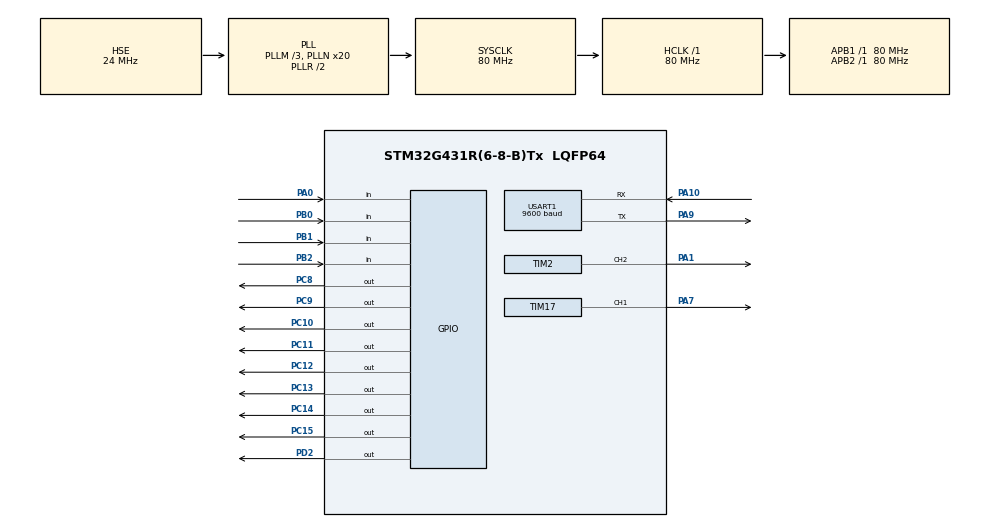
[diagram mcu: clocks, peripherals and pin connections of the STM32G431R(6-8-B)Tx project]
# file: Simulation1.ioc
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Mcu.Family=STM32G4
Mcu.Name=STM32G431R(6-8-B)Tx
Mcu.Package=LQFP64
NVIC.PriorityGroup=NVIC_PRIORITYGROUP_4
NVIC.TIM1_TRG_COM_TIM17_IRQn=true\:0\:0\:false\:false\:true\:true\:true\:true
NVIC.TIM2_IRQn=true\:0\:0\:false\:false\:true\:true\:true\:true
NVIC.TIM3_IRQn=true\:0\:0\:false\:false\:true\:true\:true\:true
NVIC.USART1_IRQn=true\:0\:0\:false\:false\:true\:true\:true\:true
PA0.GPIO_Mode=GPIO_MODE_INPUT
PA0.GPIO_PuPd=GPIO_PULLUP
PA0.Signal=GPIO_Input
PA1.Signal=S_TIM2_CH2
PA10.Mode=Asynchronous
PA10.Signal=USART1_RX
PA13.Mode=Serial_Wire
PA13.Signal=SYS_JTMS-SWDIO
PA14.Mode=Serial_Wire
PA14.Signal=SYS_JTCK-SWCLK
PA7.Signal=S_TIM17_CH1
PA9.Mode=Asynchronous
PA9.Signal=USART1_TX
PB0.GPIO_Mode=GPIO_MODE_INPUT
PB0.GPIO_PuPd=GPIO_PULLUP
PB0.Signal=GPIO_Input
PB1.GPIO_Mode=GPIO_MODE_INPUT
PB1.GPIO_PuPd=GPIO_PULLUP
PB1.Signal=GPIO_Input
PB2.GPIO_Mode=GPIO_MODE_INPUT
PB2.GPIO_PuPd=GPIO_PULLUP
PB2.Signal=GPIO_Input
PC10.GPIO_ModeDefaultOutputPP=GPIO_MODE_OUTPUT_PP
PC10.GPIO_PuPd=GPIO_NOPULL
PC10.GPIO_Speed=GPIO_SPEED_FREQ_LOW
PC10.PinState=GPIO_PIN_SET
PC10.Signal=GPIO_Output
PC11.GPIO_ModeDefaultOutputPP=GPIO_MODE_OUTPUT_PP
PC11.GPIO_PuPd=GPIO_NOPULL
PC11.GPIO_Speed=GPIO_SPEED_FREQ_LOW
PC11.PinState=GPIO_PIN_SET
PC11.Signal=GPIO_Output
PC12.GPIO_ModeDefaultOutputPP=GPIO_MODE_OUTPUT_PP
PC12.GPIO_PuPd=GPIO_NOPULL
PC12.GPIO_Speed=GPIO_SPEED_FREQ_LOW
PC12.PinState=GPIO_PIN_SET
PC12.Signal=GPIO_Output
PC13.GPIO_ModeDefaultOutputPP=GPIO_MODE_OUTPUT_PP
PC13.GPIO_PuPd=GPIO_NOPULL
PC13.GPIO_Speed=GPIO_SPEED_FREQ_LOW
PC13.PinState=GPIO_PIN_SET
PC13.Signal=GPIO_Output
PC14-OSC32_IN.GPIO_ModeDefaultOutputPP=GPIO_MODE_OUTPUT_PP
PC14-OSC32_IN.GPIO_PuPd=GPIO_NOPULL
PC14-OSC32_IN.GPIO_Speed=GPIO_SPEED_FREQ_LOW
PC14-OSC32_IN.PinState=GPIO_PIN_SET
PC14-OSC32_IN.Signal=GPIO_Output
PC15-OSC32_OUT.GPIO_ModeDefaultOutputPP=GPIO_MODE_OUTPUT_PP
PC15-OSC32_OUT.GPIO_PuPd=GPIO_NOPULL
PC15-OSC32_OUT.GPIO_Speed=GPIO_SPEED_FREQ_LOW
PC15-OSC32_OUT.PinState=GPIO_PIN_SET
PC15-OSC32_OUT.Signal=GPIO_Output
PC8.GPIO_ModeDefaultOutputPP=GPIO_MODE_OUTPUT_PP
PC8.GPIO_PuPd=GPIO_NOPULL
PC8.GPIO_Speed=GPIO_SPEED_FREQ_LOW
PC8.PinState=GPIO_PIN_SET
PC8.Signal=GPIO_Output
PC9.GPIO_ModeDefaultOutputPP=GPIO_MODE_OUTPUT_PP
PC9.GPIO_PuPd=GPIO_NOPULL
PC9.GPIO_Speed=GPIO_SPEED_FREQ_LOW
PC9.PinState=GPIO_PIN_SET
PC9.Signal=GPIO_Output
PD2.Signal=GPIO_Output
PF0-OSC_IN.Mode=HSE-External-Oscillator
PF0-OSC_IN.Signal=RCC_OSC_IN
PF1-OSC_OUT.Mode=HSE-External-Oscillator
PF1-OSC_OUT.Signal=RCC_OSC_OUT
ProjectManager.HeapSize=0x200
ProjectManager.StackSize=0x400
ProjectManager.TargetToolchain=MDK-ARM V5.32
RCC.ADC12Freq_Value=80000000
RCC.AHBFreq_Value=80000000
RCC.APB1Freq_Value=80000000
RCC.APB1TimFreq_Value=80000000
RCC.APB2Freq_Value=80000000
RCC.APB2TimFreq_Value=80000000
RCC.CortexFreq_Value=80000000
RCC.EXTERNAL_CLOCK_VALUE=12288000
RCC.HCLKFreq_Value=80000000
RCC.HSE_VALUE=24000000
RCC.HSI48_VALUE=48000000
RCC.HSI_VALUE=16000000
RCC.LSE_VALUE=32768
RCC.PLLM=RCC_PLLM_DIV3
RCC.PLLN=20
RCC.PLLSourceVirtual=RCC_PLLSOURCE_HSE
RCC.SYSCLKFreq_VALUE=80000000
RCC.SYSCLKSource=RCC_SYSCLKSOURCE_PLLCLK
RCC.USBFreq_Value=80000000
RCC.VCOOutputFreq_Value=160000000
SH.S_TIM17_CH1.0=TIM17_CH1,PWM Generation1 CH1
SH.S_TIM2_CH2.0=TIM2_CH2,PWM Generation2 CH2
TIM17.Channel=TIM_CHANNEL_1
TIM17.PeriodNoDither=100-1
TIM17.Prescaler=800-1
TIM17.PulseNoDither_1=10
TIM2.Channel-PWM\ Generation2\ CH2=TIM_CHANNEL_2
TIM2.PeriodNoDither=100-1
TIM2.Prescaler=800-1
TIM2.PulseNoDither_2=10
TIM3.PeriodNoDither=10000-1
TIM3.Prescaler=80-1
USART1.BaudRate=9600
USART1.VirtualMode-Asynchronous=VM_ASYNC
VP_SYS_VS_DBSignals.Mode=DisableDeadBatterySignals
VP_TIM17_VS_ClockSourceINT.Mode=Enable_Timer
VP_TIM2_VS_ClockSourceINT.Mode=Internal
VP_TIM3_VS_ClockSourceINT.Mode=Internal
board=custom

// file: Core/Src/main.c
/* USER CODE BEGIN Header */
/**
 ******************************************************************************
 * @file           : main.c
 * @brief          : Main program body
 ******************************************************************************
 * @attention
 *
 * Copyright (c) 2023 STMicroelectronics.
 * All rights reserved.
 *
 * This software is licensed under terms that can be found in the LICENSE file
 * in the root directory of this software component.
 * If no LICENSE file comes with this software, it is provided AS-IS.
 *
 ******************************************************************************
 */
/* USER CODE END Header */
#include "main.h"
#include "tim.h"
#include "usart.h"
#include "gpio.h"

/* USER CODE BEGIN Includes */
uchar view = 0;			  // 显示界面
extern struct keys key[]; // 按键
uint frqPA1 = 1000;		  // PA1的输出频率
uint frqPA7 = 1000;		  // PA7的输出频率
uint dutyPA1 = 10;		  // PA1占空比
uint dutyPA7 = 10;		  // PA7占空比
bool model = 0;			  // 控制模式,0为按键控制
#define DELAY_TIME 100	  // LED闪烁时间

extern uint8_t rx;			 // 每次接收的字符
extern char receiveData[30]; // 存储接受的字符串
extern uchar rePoint;		 // 指示位置

char carType[5];
char carData[5];
char carTime[13];

/* USER CODE END Includes */

void SystemClock_Config(void);

int main(void)
{

	/* MCU Configuration--------------------------------------------------------*/

	/* Reset of all peripherals, Initializes the Flash interface and the Systick. */
	HAL_Init();

	/* Configure the system clock */
	SystemClock_Config();

	/* Initialize all configured peripherals */
	MX_GPIO_Init();
	MX_TIM2_Init();
	MX_TIM17_Init();
	MX_TIM3_Init();
	MX_USART1_UART_Init();
	/* USER CODE BEGIN 2 */
	// ledDisplay(0x00);//默认全灭
	HAL_GPIO_WritePin(GPIOC, GPIO_PIN_All, GPIO_PIN_SET); // 默认全关闭
	LCD_Init();
	HAL_TIM_Base_Start_IT(&htim3);			   // 打开按键定时器
	HAL_TIM_PWM_Start(&htim2, TIM_CHANNEL_2);  // PA1的pwm输出
	HAL_TIM_PWM_Start(&htim17, TIM_CHANNEL_1); // PA7的pwm输出
	HAL_UART_Receive_IT(&huart1, &rx, 1);	   // 启用中断,也算是初始化
	/* USER CODE END 2 */

	/* Infinite loop */
	/* USER CODE BEGIN WHILE */

	LCD_Clear(Black);
	LCD_SetBackColor(Black);
	LCD_SetTextColor(White);

	LCD_DisplayStringLine(Line0, (uint8_t *)"                    ");
	LCD_DisplayStringLine(Line1, (uint8_t *)"                    ");
	LCD_DisplayStringLine(Line2, (uint8_t *)"                    ");
	LCD_DisplayStringLine(Line3, (uint8_t *)"                    ");
	LCD_DisplayStringLine(Line4, (uint8_t *)"                    ");
	LCD_DisplayStringLine(Line5, (uint8_t *)"                    ");
	LCD_DisplayStringLine(Line6, (uint8_t *)"                    ");
	LCD_DisplayStringLine(Line7, (uint8_t *)"                    ");
	LCD_DisplayStringLine(Line8, (uint8_t *)"                    ");
	LCD_DisplayStringLine(Line9, (uint8_t *)"                    ");

	while (1)
	{
		/* USER CODE END WHILE */

		/* USER CODE BEGIN 3 */

		keyProcess();
		pwmProcess();
		// uart_TX();
		uartProcess();
		displayView();
		ledProcess();
	}
	/* USER CODE END 3 */
}

void SystemClock_Config(void)
{
	RCC_OscInitTypeDef RCC_OscInitStruct = {0};
	RCC_ClkInitTypeDef RCC_ClkInitStruct = {0};

	/** Configure the main internal regulator output voltage
	 */
	HAL_PWREx_ControlVoltageScaling(PWR_REGULATOR_VOLTAGE_SCALE1);

	/** Initializes the RCC Oscillators according to the specified parameters
	 * in the RCC_OscInitTypeDef structure.
	 */
	RCC_OscInitStruct.OscillatorType = RCC_OSCILLATORTYPE_HSE;
	RCC_OscInitStruct.HSEState = RCC_HSE_ON;
	RCC_OscInitStruct.PLL.PLLState = RCC_PLL_ON;
	RCC_OscInitStruct.PLL.PLLSource = RCC_PLLSOURCE_HSE;
	RCC_OscInitStruct.PLL.PLLM = RCC_PLLM_DIV3;
	RCC_OscInitStruct.PLL.PLLN = 20;
	RCC_OscInitStruct.PLL.PLLP = RCC_PLLP_DIV2;
	RCC_OscInitStruct.PLL.PLLQ = RCC_PLLQ_DIV2;
	RCC_OscInitStruct.PLL.PLLR = RCC_PLLR_DIV2;
	if (HAL_RCC_OscConfig(&RCC_OscInitStruct) != HAL_OK)
	{
		Error_Handler();
	}

	/** Initializes the CPU, AHB and APB buses clocks
	 */
	RCC_ClkInitStruct.ClockType = RCC_CLOCKTYPE_HCLK | RCC_CLOCKTYPE_SYSCLK | RCC_CLOCKTYPE_PCLK1 | RCC_CLOCKTYPE_PCLK2;
	RCC_ClkInitStruct.SYSCLKSource = RCC_SYSCLKSOURCE_PLLCLK;
	RCC_ClkInitStruct.AHBCLKDivider = RCC_SYSCLK_DIV1;
	RCC_ClkInitStruct.APB1CLKDivider = RCC_HCLK_DIV1;
	RCC_ClkInitStruct.APB2CLKDivider = RCC_HCLK_DIV1;

	if (HAL_RCC_ClockConfig(&RCC_ClkInitStruct, FLASH_LATENCY_2) != HAL_OK)
	{
		Error_Handler();
	}
}

/* USER CODE BEGIN 4 */
void uartProcess()
{
	// 读取到数据
	if (rePoint >0 )
	{
		if (model == 1)
		{
			// 数据位数正常
			if (receiveData[0] == '@'&&rePoint==1)
				view = 0;
			else if (receiveData[0] == '#'&&rePoint==1)
				view = 1;
			else
			{
				uartTX();
			}
			rePoint = 0;				// 清空
			memset(receiveData, 0, 30); // 清空
		}
		else
		{
			char str[20];

			sprintf(str, "KEY CONTROL\r\n");
			HAL_UART_Transmit(&huart1, (uint8_t *)str, strlen(str), 50);
			rePoint = 0;				// 清空
			memset(receiveData, 0, 30); // 清空
		}
	}
}
void ledProcess()
{
	HAL_GPIO_WritePin(GPIOC, GPIO_PIN_All, GPIO_PIN_SET);
	if (model == 0)
		HAL_GPIO_WritePin(GPIOC, GPIO_PIN_10, GPIO_PIN_RESET);
	if (view == 0)
	{
		if (frqPA1 > frqPA7)
		{
			HAL_GPIO_WritePin(GPIOC, GPIO_PIN_8, GPIO_PIN_RESET); // 开
			HAL_GPIO_WritePin(GPIOD, GPIO_PIN_2, GPIO_PIN_SET);
			HAL_GPIO_WritePin(GPIOD, GPIO_PIN_2, GPIO_PIN_RESET);
			HAL_Delay(DELAY_TIME);
			HAL_GPIO_WritePin(GPIOC, GPIO_PIN_8, GPIO_PIN_SET); // 灭
			HAL_GPIO_WritePin(GPIOD, GPIO_PIN_2, GPIO_PIN_SET);
			HAL_GPIO_WritePin(GPIOD, GPIO_PIN_2, GPIO_PIN_RESET);
			HAL_Delay(DELAY_TIME);
		}
		else
		{
			HAL_GPIO_WritePin(GPIOC, GPIO_PIN_8, GPIO_PIN_RESET); // 开启
			HAL_GPIO_WritePin(GPIOD, GPIO_PIN_2, GPIO_PIN_SET);
			HAL_GPIO_WritePin(GPIOD, GPIO_PIN_2, GPIO_PIN_RESET);
		}
	}
	else
	{
		if (frqPA7 > frqPA1)
		{
			HAL_GPIO_WritePin(GPIOC, GPIO_PIN_9, GPIO_PIN_RESET); // 开
			HAL_GPIO_WritePin(GPIOD, GPIO_PIN_2, GPIO_PIN_SET);
			HAL_GPIO_WritePin(GPIOD, GPIO_PIN_2, GPIO_PIN_RESET);
			HAL_Delay(DELAY_TIME);
			HAL_GPIO_WritePin(GPIOC, GPIO_PIN_9, GPIO_PIN_SET); // 灭
			HAL_GPIO_WritePin(GPIOD, GPIO_PIN_2, GPIO_PIN_SET);
			HAL_GPIO_WritePin(GPIOD, GPIO_PIN_2, GPIO_PIN_RESET);
			HAL_Delay(DELAY_TIME);
		}
		else
		{
			HAL_GPIO_WritePin(GPIOC, GPIO_PIN_9, GPIO_PIN_RESET);
			HAL_GPIO_WritePin(GPIOD, GPIO_PIN_2, GPIO_PIN_SET);
			HAL_GPIO_WritePin(GPIOD, GPIO_PIN_2, GPIO_PIN_RESET);
		}
	}
}

void pwmProcess()
{
	__HAL_TIM_SetCompare(&htim2, TIM_CHANNEL_2, dutyPA1);	  // 设置PA1的占空比,因为重装载值是100,所以比列不需要运算
	__HAL_TIM_SetCompare(&htim17, TIM_CHANNEL_1, dutyPA7);	  // 设置PA7的占空比
	__HAL_TIM_SET_PRESCALER(&htim2, ((800000 / frqPA1) - 1)); // 设置频率 80000000/100/目标频率 -1
	__HAL_TIM_SET_PRESCALER(&htim2, ((800000 / frqPA1) - 1));
}

void keyProcess()
{
	// B1
	if (key[0].flagKey > 0)
	{
		if (view == 0)
		{
			frqPA1 += 1000;
			if (frqPA1 > 10000)
				frqPA1 = 1000;
		}
		else
		{
			frqPA7 += 1000;
			if (frqPA7 > 10000)
				frqPA7 = 1000;
		}
		key[0].flagKey = 0;
	}
	// B2
	if (key[1].flagKey > 0)
	{
		if (view == 0)
		{
			dutyPA1 += 10;
			if (dutyPA1 > 90)
				dutyPA1 = 10;
		}
		else
		{
			dutyPA7 += 10;
			if (dutyPA7 > 90)
				dutyPA7 = 10;
		}
		key[1].flagKey = 0;
	}
	// B3
	if (key[2].flagKey > 0)
	{
		if (model == 0) // 在按键模式下生效
		{
			view = !view;
			LCD_Clear(Black);
		}
		key[2].flagKey = 0;
	}
	// B4
	if (key[3].flagKey > 0)
	{
		model = !model;
		key[3].flagKey = 0;
	}
}
void displayView()
{
	if (view == 0)
	{
		LCD_DisplayStringLine(Line3, (uint8_t *)"        PA1         ");
		char text[30];
		// int i=2000;
		sprintf(text, "    F:%dHz        ", frqPA1);
		LCD_DisplayStringLine(Line5, (uint8_t *)text);

		// i=20;
		sprintf(text, "    D:%d%%        ", dutyPA1);
		LCD_DisplayStringLine(Line7, (uint8_t *)text);
	}
	else
	{
		LCD_DisplayStringLine(Line3, (uint8_t *)"        PA7         ");
		char text[30];
		// int i=1000;
		sprintf(text, "    F:%dHz        ", frqPA7);
		LCD_DisplayStringLine(Line5, (uint8_t *)text);

		// i=10;
		sprintf(text, "    D:%d%%        ", dutyPA7);
		LCD_DisplayStringLine(Line7, (uint8_t *)text);
	}
}
void uartTX()
{
	char str[20];
	// sprintf(str,"frqPA1=%d\r\n",frqPA1);
	sprintf(str, "ERROR\r\n");
	HAL_UART_Transmit(&huart1, (uint8_t *)str, strlen(str), 50);
	// HAL_Delay(500);
}
/* USER CODE END 4 */

void Error_Handler(void)
{
	__disable_irq();
	while (1)
	{
	}
}
